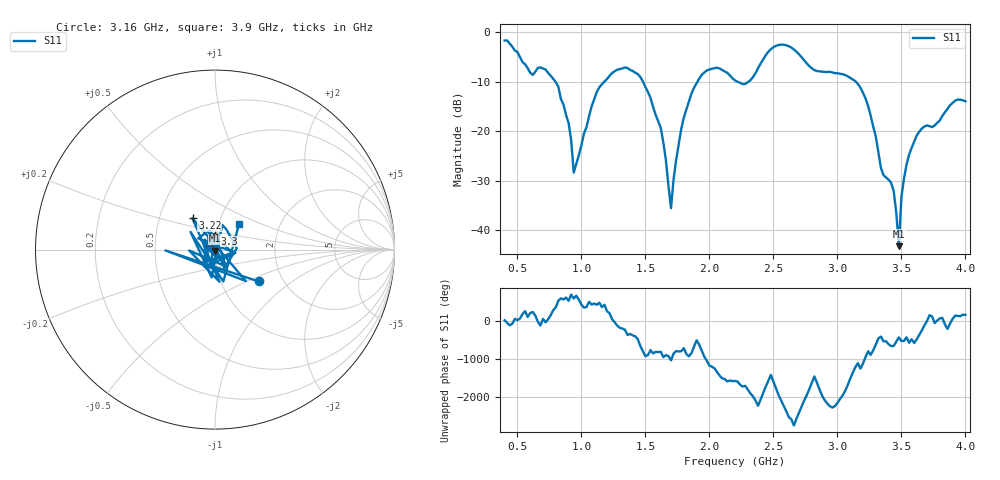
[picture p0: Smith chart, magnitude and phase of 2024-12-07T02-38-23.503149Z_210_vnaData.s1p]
!Created with skrf (http://scikit-rf.org).
# Hz S RI R 50.0
!freq ReS11 ImS11
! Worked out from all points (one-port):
!   181 points, 400 MHz to 4 GHz, reference 50 ohm
!   lowest |S11| = -43.2 dB at 3.48 GHz (marker M1), VSWR 1.01, Z = 50.1 - j0.679 ohm
!   |S11| at or under -10 dB: 799 MHz to 1.177 GHz (377.9 MHz wide, 38.2 % of centre); 1.482 GHz to 1.906 GHz (424.1 MHz wide, 25 % of centre); 3.145 GHz to end of sweep (the widest 3 of 4)
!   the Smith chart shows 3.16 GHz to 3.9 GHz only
!   S11 on the Smith chart (normalised r, x): 3.16 GHz: 1.51, -0.59; 3.22 GHz: 0.74, +0.27; 3.3 GHz: 0.98, +0.18; 3.9 GHz: 1.25, +0.37
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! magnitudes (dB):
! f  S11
! 400 MHz  -1.6
! 620 MHz  -8.6
! 720 MHz  -7.5
! 860 MHz  -14.6
! 920 MHz  -21.8
! 940 MHz  -28.3
! 1.12 GHz  -12.0
! 1.3 GHz  -7.4
! 1.54 GHz  -13.2
! 1.62 GHz  -19.3
! 1.7 GHz  -35.5
! 1.76 GHz  -22.6
! 1.94 GHz  -8.6
! 2.2 GHz  -9.7
! 2.32 GHz  -9.7
! 2.52 GHz  -2.7
! 2.66 GHz  -3.4
! 3.1 GHz  -9.2
! 3.16 GHz  -10.4
! 3.22 GHz  -13.4
! 3.3 GHz  -21.0
! 3.34 GHz  -27.4
! 3.44 GHz  -32.1
! 3.48 GHz  -43.2
! 3.5 GHz  -33.3
! 3.56 GHz  -24.7
! 3.9 GHz  -14.2
! 4 GHz  -13.9
